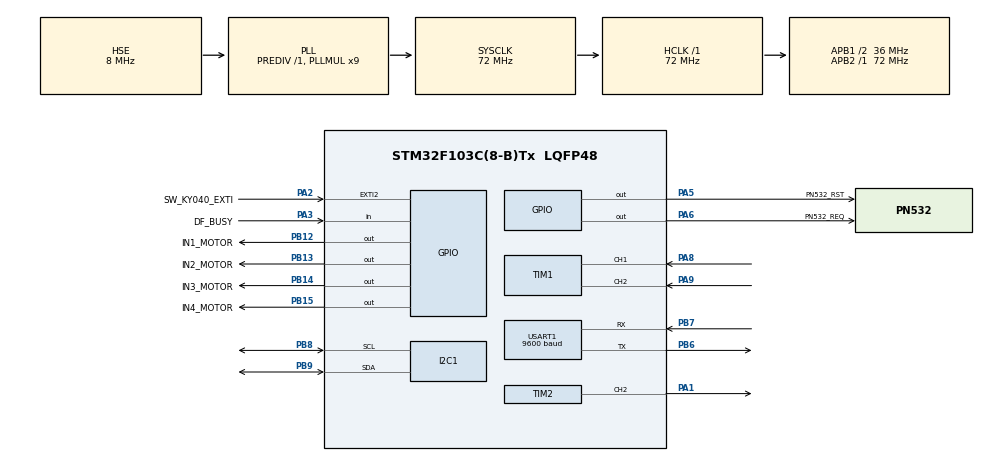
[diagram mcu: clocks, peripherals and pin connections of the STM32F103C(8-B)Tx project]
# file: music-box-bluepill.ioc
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Dma.Request0=TIM2_CH2/CH4
Dma.TIM2_CH2/CH4.0.Direction=DMA_MEMORY_TO_PERIPH
Dma.TIM2_CH2/CH4.0.Instance=DMA1_Channel7
Dma.TIM2_CH2/CH4.0.MemDataAlignment=DMA_MDATAALIGN_HALFWORD
Dma.TIM2_CH2/CH4.0.MemInc=DMA_MINC_ENABLE
Dma.TIM2_CH2/CH4.0.Mode=DMA_NORMAL
Dma.TIM2_CH2/CH4.0.PeriphDataAlignment=DMA_PDATAALIGN_HALFWORD
Dma.TIM2_CH2/CH4.0.PeriphInc=DMA_PINC_DISABLE
Dma.TIM2_CH2/CH4.0.Priority=DMA_PRIORITY_LOW
FREERTOS.BinarySemaphores01=pause_sem,Dynamic,NULL,Available
FREERTOS.Mutexes01=i2c_mutex,Dynamic,NULL,Available
FREERTOS.Tasks01=defaultTask,0,128,StartDefaultTask,Default,NULL,Dynamic,NULL,NULL;TaskMotor,1,128,StartTaskMotor,Default,NULL,Dynamic,NULL,NULL;TaskRFID,0,256,StartTaskRFID,Default,NULL,Dynamic,NULL,NULL;TaskEncoder,0,128,StartTaskEncoder,Default,NULL,Dynamic,NULL,NULL;TaskPlayer,0,256,StartTaskPlayer,Default,NULL,Dynamic,NULL,NULL;TaskDisplay,-2,256,StartTaskDisplay,Default,NULL,Dynamic,NULL,NULL;TaskHealth,2,128,StartTaskHealth,Default,NULL,Dynamic,NULL,NULL
FREERTOS.configTOTAL_HEAP_SIZE=10000
FREERTOS.configUSE_NEWLIB_REENTRANT=1
IWDG.Prescaler=IWDG_PRESCALER_128
Mcu.Family=STM32F1
Mcu.Name=STM32F103C(8-B)Tx
Mcu.Package=LQFP48
NVIC.DMA1_Channel7_IRQn=true\:5\:0\:false\:false\:true\:true\:false\:true\:true
NVIC.EXTI2_IRQn=true\:5\:0\:false\:false\:true\:true\:true\:true\:true
NVIC.PriorityGroup=NVIC_PRIORITYGROUP_4
NVIC.TIM3_IRQn=true\:15\:0\:false\:false\:true\:false\:false\:true\:true
NVIC.TimeBase=TIM3_IRQn
NVIC.TimeBaseIP=TIM3
PA1.Signal=S_TIM2_CH2
PA13.Mode=Serial_Wire
PA13.Signal=SYS_JTMS-SWDIO
PA14.Mode=Serial_Wire
PA14.Signal=SYS_JTCK-SWCLK
PA2.GPIO_Label=SW_KY040_EXTI
PA2.Signal=GPXTI2
PA3.GPIO_Label=DF_BUSY
PA3.Signal=GPIO_Input
PA5.GPIO_Label=PN532_RST
PA5.Signal=GPIO_Output
PA6.GPIO_Label=PN532_REQ
PA6.Signal=GPIO_Output
PA8.Signal=S_TIM1_CH1
PA9.Signal=S_TIM1_CH2
PB12.GPIO_Label=IN1_MOTOR
PB12.Signal=GPIO_Output
PB13.GPIO_Label=IN2_MOTOR
PB13.Signal=GPIO_Output
PB14.GPIO_Label=IN3_MOTOR
PB14.Signal=GPIO_Output
PB15.GPIO_Label=IN4_MOTOR
PB15.Signal=GPIO_Output
PB6.Mode=Asynchronous
PB6.Signal=USART1_TX
PB7.Mode=Asynchronous
PB7.Signal=USART1_RX
PB8.Mode=I2C
PB8.Signal=I2C1_SCL
PB9.Mode=I2C
PB9.Signal=I2C1_SDA
PD0-OSC_IN.Mode=HSE-External-Oscillator
PD0-OSC_IN.Signal=RCC_OSC_IN
PD1-OSC_OUT.Mode=HSE-External-Oscillator
PD1-OSC_OUT.Signal=RCC_OSC_OUT
ProjectManager.HeapSize=0x200
ProjectManager.StackSize=0x400
ProjectManager.TargetToolchain=STM32CubeIDE
RCC.AHBFreq_Value=72000000
RCC.APB1CLKDivider=RCC_HCLK_DIV2
RCC.APB1Freq_Value=36000000
RCC.APB1TimFreq_Value=72000000
RCC.APB2Freq_Value=72000000
RCC.APB2TimFreq_Value=72000000
RCC.HCLKFreq_Value=72000000
RCC.PLLMUL=RCC_PLL_MUL9
RCC.PLLSourceVirtual=RCC_PLLSOURCE_HSE
RCC.SYSCLKFreq_VALUE=72000000
RCC.SYSCLKSource=RCC_SYSCLKSOURCE_PLLCLK
RCC.USBFreq_Value=72000000
SH.S_TIM1_CH1.0=TIM1_CH1,Encoder_Interface
SH.S_TIM1_CH2.0=TIM1_CH2,Encoder_Interface
SH.S_TIM2_CH2.0=TIM2_CH2,PWM Generation2 CH2
TIM2.Channel-PWM\ Generation2\ CH2=TIM_CHANNEL_2
TIM2.Period=90-1
USART1.BaudRate=9600
USART1.VirtualMode=VM_ASYNC
VP_FREERTOS_VS_CMSIS_V1.Mode=CMSIS_V1
VP_IWDG_VS_IWDG.Mode=IWDG_Activate
VP_SYS_VS_tim3.Mode=TIM3
board=custom

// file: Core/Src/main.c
/* USER CODE BEGIN Header */
/**
 ******************************************************************************
 * @file           : main.c
 * @brief          : Main program body
 ******************************************************************************
 * @attention
 *
 * Copyright (c) 2026 STMicroelectronics.
 * All rights reserved.
 *
 * This software is licensed under terms that can be found in the LICENSE file
 * in the root directory of this software component.
 * If no LICENSE file comes with this software, it is provided AS-IS.
 *
 ******************************************************************************
 */
/* USER CODE END Header */
#include "main.h"
#include "cmsis_os.h"
#include "dma.h"
#include "i2c.h"
#include "iwdg.h"
#include "tim.h"
#include "usart.h"
#include "gpio.h"

/* USER CODE BEGIN Includes */
#include "pn532_stm32f1.h"
#include "df_player.h"
#include "ssd1306.h"
#include "ws2812b.h"
/* USER CODE END Includes */

/* USER CODE BEGIN PD */
#define PN532_INIT_MAX_RETRIES  5
#define PN532_INIT_RETRY_DELAY_MS  200
/* USER CODE END PD */

/* USER CODE BEGIN PV */
PN532 pn532;
/* USER CODE END PV */

void SystemClock_Config(void);
void MX_FREERTOS_Init(void);

int main(void)
{

	/* MCU Configuration--------------------------------------------------------*/

	/* Reset of all peripherals, Initializes the Flash interface and the Systick. */
	HAL_Init();

	/* Configure the system clock */
	SystemClock_Config();

	/* Initialize all configured peripherals */
	MX_GPIO_Init();
	MX_DMA_Init();
	MX_I2C1_Init();
	MX_USART1_UART_Init();
	MX_TIM1_Init();
	MX_TIM2_Init();
	MX_IWDG_Init();
	/* USER CODE BEGIN 2 */
#if defined(DBGMCU_CR_DBG_IWDG_STOP)
	__HAL_DBGMCU_FREEZE_IWDG();
#endif

	SSD1306_Init();
	SSD1306_Clear();
	SSD1306_WriteString("Waiting...");
	SSD1306_UpdateScreen();

	PN532_I2C_Init(&pn532);

	uint8_t buff[255];
	int init_ok = 0;

	for (int attempt = 0; attempt < PN532_INIT_MAX_RETRIES; attempt++)
	{
		if (PN532_GetFirmwareVersion(&pn532, buff) == PN532_STATUS_OK)
		{
			init_ok = 1;
			break;
		}

		HAL_Delay(PN532_INIT_RETRY_DELAY_MS);
		PN532_I2C_Wakeup(); /* повторний wake-up на випадок, якщо саме він не спрацював з першого разу */
	}

	if (init_ok)
	{
		PN532_SamConfiguration(&pn532);
	}
	else
	{
		SSD1306_Clear();
		SSD1306_WriteString("PN532 init FAIL");
		SSD1306_UpdateScreen();

		while (1)
		{
//			HAL_GPIO_TogglePin(GPIOC, GPIO_PIN_13);
			HAL_Delay(200);
		}
	}

	dfplayer_Init();
	dfplayer_SetVolume(2);
	dfplayer_SetSource(PLAYBACK_SOURCE_TF);

	WS2812B_Init();

	HAL_TIM_Encoder_Start(&htim1, TIM_CHANNEL_ALL);
	/* USER CODE END 2 */

	/* Call init function for freertos objects (in cmsis_os2.c) */
	MX_FREERTOS_Init();

	/* Start scheduler */
	osKernelStart();

	/* We should never get here as control is now taken by the scheduler */

	/* Infinite loop */
	while (1)
	{

	}
}

void SystemClock_Config(void)
{
	RCC_OscInitTypeDef RCC_OscInitStruct = {0};
	RCC_ClkInitTypeDef RCC_ClkInitStruct = {0};

	/** Initializes the RCC Oscillators according to the specified parameters
	 * in the RCC_OscInitTypeDef structure.
	 */
	RCC_OscInitStruct.OscillatorType = RCC_OSCILLATORTYPE_LSI|RCC_OSCILLATORTYPE_HSE;
	RCC_OscInitStruct.HSEState = RCC_HSE_ON;
	RCC_OscInitStruct.HSEPredivValue = RCC_HSE_PREDIV_DIV1;
	RCC_OscInitStruct.HSIState = RCC_HSI_ON;
	RCC_OscInitStruct.LSIState = RCC_LSI_ON;
	RCC_OscInitStruct.PLL.PLLState = RCC_PLL_ON;
	RCC_OscInitStruct.PLL.PLLSource = RCC_PLLSOURCE_HSE;
	RCC_OscInitStruct.PLL.PLLMUL = RCC_PLL_MUL9;
	if (HAL_RCC_OscConfig(&RCC_OscInitStruct) != HAL_OK)
	{
		Error_Handler();
	}

	/** Initializes the CPU, AHB and APB buses clocks
	 */
	RCC_ClkInitStruct.ClockType = RCC_CLOCKTYPE_HCLK|RCC_CLOCKTYPE_SYSCLK
			|RCC_CLOCKTYPE_PCLK1|RCC_CLOCKTYPE_PCLK2;
	RCC_ClkInitStruct.SYSCLKSource = RCC_SYSCLKSOURCE_PLLCLK;
	RCC_ClkInitStruct.AHBCLKDivider = RCC_SYSCLK_DIV1;
	RCC_ClkInitStruct.APB1CLKDivider = RCC_HCLK_DIV2;
	RCC_ClkInitStruct.APB2CLKDivider = RCC_HCLK_DIV1;

	if (HAL_RCC_ClockConfig(&RCC_ClkInitStruct, FLASH_LATENCY_2) != HAL_OK)
	{
		Error_Handler();
	}
}

void HAL_TIM_PeriodElapsedCallback(TIM_HandleTypeDef *htim)
{
	if (htim->Instance == TIM3)
	{
		HAL_IncTick();
	}
}

void Error_Handler(void)
{
	__disable_irq();
	while (1)
	{
	}
}

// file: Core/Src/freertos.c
/* USER CODE BEGIN Header */
/**
 ******************************************************************************
 * File Name          : freertos.c
 * Description        : Code for freertos applications
 ******************************************************************************
 * @attention
 *
 * Copyright (c) 2026 STMicroelectronics.
 * All rights reserved.
 *
 * This software is licensed under terms that can be found in the LICENSE file
 * in the root directory of this software component.
 * If no LICENSE file comes with this software, it is provided AS-IS.
 *
 ******************************************************************************
 */
/* USER CODE END Header */

#include "FreeRTOS.h"
#include "task.h"
#include "main.h"
#include "cmsis_os.h"

/* USER CODE BEGIN Includes */
#include "pn532_stm32f1.h"
#include "df_player.h"
#include "ssd1306.h"
#include "stepper.h"
#include <string.h>
#include <stdio.h>
#include "ws2812b.h"
#include "event_groups.h"
/* USER CODE END Includes */

/* USER CODE BEGIN PTD */
typedef struct {
	uint64_t uid;
	int8_t   track_number;
} rfid_msg_t;

typedef struct {
	char    track_name[32];
	uint8_t volume;
	uint8_t is_paused;
	uint8_t motor_running;
	uint8_t is_ended;
} display_msg_t;
/* USER CODE END PTD */

/* USER CODE BEGIN PD */
#define TAG_1 0x53c49bf6630001
#define TAG_2 0x53539af6630001
#define TAG_3  23585189974441985ULL
#define TAG_4  23516277151825921ULL
#define TAG_5  23390585006260225ULL

#define HEALTH_NFC_BIT      (1 << 0)
#define HEALTH_DFPLAYER_BIT (1 << 1)
#define HEALTH_WS_BIT       (1 << 2)
#define HEALTH_MOTOR_BIT    (1 << 3)
#define HEALTH_ALL_BITS     (HEALTH_NFC_BIT | HEALTH_DFPLAYER_BIT | HEALTH_WS_BIT | HEALTH_MOTOR_BIT)

#define TIMEOUT_MS 1000  /* health-check period, well under min. IWDG timeout of ~2.18s */
/* USER CODE END PD */

/* USER CODE BEGIN Variables */
osMessageQId RFID_QueueHandle;
osMessageQId Encoder_QueueHandle;
osMessageQId Display_QueueHandle;

SemaphoreHandle_t motor_start_semHandle;
SemaphoreHandle_t motor_stop_semHandle;

static EventGroupHandle_t healthEventGroup;

extern PN532 pn532;
extern TIM_HandleTypeDef htim1;
extern IWDG_HandleTypeDef hiwdg;

uint8_t volume = 2;
/* USER CODE END Variables */
osThreadId defaultTaskHandle;
osThreadId TaskMotorHandle;
osThreadId TaskRFIDHandle;
osThreadId TaskEncoderHandle;
osThreadId TaskPlayerHandle;
osThreadId TaskDisplayHandle;
osThreadId TaskHealthHandle;
osMutexId i2c_mutexHandle;
osSemaphoreId pause_semHandle;

/* USER CODE BEGIN FunctionPrototypes */
static void SendDisplayUpdate(int8_t track, uint8_t vol, bool paused, bool motor_run, bool ended)
{
	display_msg_t disp;
	disp.volume = vol;
	disp.is_paused = paused;
	disp.motor_running = motor_run;
	disp.is_ended = ended;

	if (track == 1)
		strncpy(disp.track_name, "BTS - MIC Drop", 32);
	else if (track == 2)
		strncpy(disp.track_name, "BTS - Not Today", 32);
	else if (track == 3)
		strncpy(disp.track_name, "BTS - Jump", 32);
	else if (track == 4)
		strncpy(disp.track_name, "BTS - Spine Breaker", 32);
	else if (track == 5)
		strncpy(disp.track_name, "J-Hope - Arson", 32);
	else
		strncpy(disp.track_name, "Waiting...", 32);

	xQueueSend(Display_QueueHandle, &disp, 0);
}
/* USER CODE END FunctionPrototypes */

void StartDefaultTask(void const * argument);
void StartTaskMotor(void const * argument);
void StartTaskRFID(void const * argument);
void StartTaskEncoder(void const * argument);
void StartTaskPlayer(void const * argument);
void StartTaskDisplay(void const * argument);
void StartTaskHealth(void const * argument);

void MX_FREERTOS_Init(void); /* (MISRA C 2004 rule 8.1) */

/* GetIdleTaskMemory prototype (linked to static allocation support) */
void vApplicationGetIdleTaskMemory( StaticTask_t **ppxIdleTaskTCBBuffer, StackType_t **ppxIdleTaskStackBuffer, uint32_t *pulIdleTaskStackSize );

/* USER CODE BEGIN GET_IDLE_TASK_MEMORY */
static StaticTask_t xIdleTaskTCBBuffer;
static StackType_t xIdleStack[configMINIMAL_STACK_SIZE];

void vApplicationGetIdleTaskMemory( StaticTask_t **ppxIdleTaskTCBBuffer, StackType_t **ppxIdleTaskStackBuffer, uint32_t *pulIdleTaskStackSize )
{
	*ppxIdleTaskTCBBuffer = &xIdleTaskTCBBuffer;
	*ppxIdleTaskStackBuffer = &xIdleStack[0];
	*pulIdleTaskStackSize = configMINIMAL_STACK_SIZE;
	/* place for user code */
}
/* USER CODE END GET_IDLE_TASK_MEMORY */

void MX_FREERTOS_Init(void) {
	/* USER CODE BEGIN Init */
	healthEventGroup = xEventGroupCreate();
	/* USER CODE END Init */
	/* Create the mutex(es) */
	/* definition and creation of i2c_mutex */
	osMutexDef(i2c_mutex);
	i2c_mutexHandle = osMutexCreate(osMutex(i2c_mutex));

	/* Create the semaphores(s) */
	/* definition and creation of pause_sem */
	osSemaphoreDef(pause_sem);
	pause_semHandle = osSemaphoreCreate(osSemaphore(pause_sem), 1);

	/* USER CODE BEGIN RTOS_SEMAPHORES */
	/* Using xSemaphoreCreateBinary instead of osSemaphoreCreate:
	 * CMSIS V1 counting semaphore hangs on Release when already Available.
	 * True binary semaphore returns pdFAIL gracefully instead. */
	motor_start_semHandle = xSemaphoreCreateBinary();
	motor_stop_semHandle = xSemaphoreCreateBinary();
	/* USER CODE END RTOS_SEMAPHORES */

	/* USER CODE BEGIN RTOS_QUEUES */
	/* Custom item sizes require direct FreeRTOS API instead of osMessageQDef */
	RFID_QueueHandle = xQueueCreate(1, sizeof(rfid_msg_t));
	Encoder_QueueHandle = xQueueCreate(4, sizeof(int8_t));
	Display_QueueHandle = xQueueCreate(2, sizeof(display_msg_t));
	/* USER CODE END RTOS_QUEUES */

	/* Create the thread(s) */
	/* definition and creation of defaultTask */
	osThreadDef(defaultTask, StartDefaultTask, osPriorityNormal, 0, 128);
	defaultTaskHandle = osThreadCreate(osThread(defaultTask), NULL);

	/* definition and creation of TaskMotor */
	osThreadDef(TaskMotor, StartTaskMotor, osPriorityAboveNormal, 0, 128);
	TaskMotorHandle = osThreadCreate(osThread(TaskMotor), NULL);

	/* definition and creation of TaskRFID */
	osThreadDef(TaskRFID, StartTaskRFID, osPriorityNormal, 0, 256);
	TaskRFIDHandle = osThreadCreate(osThread(TaskRFID), NULL);

	/* definition and creation of TaskEncoder */
	osThreadDef(TaskEncoder, StartTaskEncoder, osPriorityNormal, 0, 128);
	TaskEncoderHandle = osThreadCreate(osThread(TaskEncoder), NULL);

	/* definition and creation of TaskPlayer */
	osThreadDef(TaskPlayer, StartTaskPlayer, osPriorityNormal, 0, 256);
	TaskPlayerHandle = osThreadCreate(osThread(TaskPlayer), NULL);

	/* definition and creation of TaskDisplay */
	osThreadDef(TaskDisplay, StartTaskDisplay, osPriorityLow, 0, 256);
	TaskDisplayHandle = osThreadCreate(osThread(TaskDisplay), NULL);

	/* definition and creation of TaskHealth */
	osThreadDef(TaskHealth, StartTaskHealth, osPriorityHigh, 0, 128);
	TaskHealthHandle = osThreadCreate(osThread(TaskHealth), NULL);

}

void StartDefaultTask(void const * argument)
{
	for(;;)
	{
		osDelay(1);
	}
}

void StartTaskMotor(void const * argument)
{
	/* USER CODE BEGIN StartTaskMotor */
	/* Infinite loop */
	for(;;)
	{
		/* Block until Player signals motor to start */
		if(osSemaphoreWait(motor_start_semHandle, pdMS_TO_TICKS(1000)) != osOK){
			xEventGroupSetBits(healthEventGroup, HEALTH_MOTOR_BIT);
			continue;
		}

		/* Clear any pending stop signal */
		xSemaphoreTake(motor_stop_semHandle, 0);

		for (;;)
		{
			stepper_Step(true);
			osDelay(1);
			xEventGroupSetBits(healthEventGroup, HEALTH_MOTOR_BIT);

			/* Non-blocking check for stop signal from Player */
			if (osSemaphoreWait(motor_stop_semHandle, 0) == osOK)
				break;
		}

		/* De-energize all coils to save power */
		stepper_Stop();

		/* Clear any pending start signal that arrived during stop */
		xSemaphoreTake(motor_start_semHandle, 0);
	}
	/* USER CODE END StartTaskMotor */
}

void StartTaskRFID(void const * argument)
{
	/* USER CODE BEGIN StartTaskRFID */
	uint8_t uid[MIFARE_UID_MAX_LENGTH];
	int32_t uid_len = 0;
	static uint32_t tag_lost_tick = 0;
	static uint64_t last_tag_id = 0;

	/* Infinite loop */
	for(;;)
	{
		osMutexWait(i2c_mutexHandle, osWaitForever);
		uid_len = PN532_ReadPassiveTarget(&pn532, uid, PN532_MIFARE_ISO14443A, 1000);
		osMutexRelease(i2c_mutexHandle);

		if (uid_len > 0)
		{
			/* Tag visible - reset lost timer */
			tag_lost_tick = 0;

			uint64_t current_id = uid_to_u64(uid, uid_len);

			if (current_id != last_tag_id)
			{
				/* New tag or tag came back after removal */
				last_tag_id = current_id;

				rfid_msg_t msg;
				msg.uid = current_id;

				if (current_id == TAG_1)      msg.track_number = 1;
				else if (current_id == TAG_2) msg.track_number = 2;
				else if (current_id == TAG_3) msg.track_number = 3;
				else if (current_id == TAG_4) msg.track_number = 4;
				else if (current_id == TAG_5) msg.track_number = 5;
				else                          msg.track_number = -1;

				xQueueOverwrite(RFID_QueueHandle, &msg);
			}
			/* else: same tag still in field, nothing to do */
		}
		else
		{
			/* No tag visible */
			if (last_tag_id != 0)
			{
				/* We had a tag - start or continue lost timer */
				if (tag_lost_tick == 0)
					tag_lost_tick = osKernelSysTick();

				if (osKernelSysTick() - tag_lost_tick > 2000)
				{
					/* 5 seconds without tag - treat as removed */
					tag_lost_tick = 0;
					last_tag_id = 0;

					rfid_msg_t msg = { .uid = 0, .track_number = -1 };
					xQueueOverwrite(RFID_QueueHandle, &msg);
				}
			}
			/* else: no tag before, no tag now, nothing to do */
		}

		xEventGroupSetBits(healthEventGroup, HEALTH_NFC_BIT);

		osDelay(50);
	}
	/* USER CODE END StartTaskRFID */
}

void StartTaskEncoder(void const * argument)
{
	/* USER CODE BEGIN StartTaskEncoder */
	static int32_t last_count = 0;
	int32_t count = 0;
	int32_t diff = 0;
	int8_t delta = 0;
	/* Infinite loop */
	for(;;)
	{
		count = (int32_t)(uint16_t)__HAL_TIM_GET_COUNTER(&htim1);
		diff = count - last_count;

		/* Handle counter overflow/underflow */
		if (diff > 32767)  diff -= 65536;
		if (diff < -32767) diff += 65536;

		if (diff >= 2)
		{
			delta = 1;
			xQueueSend(Encoder_QueueHandle, &delta, 0);
			last_count = count;
		}
		else if (diff <= -2)
		{
			delta = -1;
			xQueueSend(Encoder_QueueHandle, &delta, 0);
			last_count = count;
		}

		osDelay(1);
	}
	/* USER CODE END StartTaskEncoder */
}

void StartTaskPlayer(void const * argument)
{
	/* USER CODE BEGIN StartTaskPlayer */
	rfid_msg_t rfid_msg;
	int8_t encoder_delta = 0;
	bool is_paused = false;
	int8_t current_track = -1;
	static bool was_busy = false;
	/* Infinite loop */
	for(;;)
	{
		/* Check for new RFID event */
		if (xQueueReceive(RFID_QueueHandle, &rfid_msg, 0) == pdTRUE)
		{
			if (rfid_msg.track_number >= 0)
			{
				if (rfid_msg.track_number == current_track)
				{
					/* Same tag came back - resume, don't restart the track */
					is_paused = false;

					dfplayer_Play();

					xSemaphoreTake(motor_stop_semHandle, 0);
					osSemaphoreRelease(motor_start_semHandle);

					SendDisplayUpdate(current_track, volume, is_paused, current_track >= 0, false);
				}
				else
				{
					/* New/different tag - start playback from the beginning */
					current_track = rfid_msg.track_number;
					is_paused = false;

					dfplayer_SetTrakNumber(current_track);

					/* Clear pending stop signal before starting motor */
					xSemaphoreTake(motor_stop_semHandle, 0);
					osSemaphoreRelease(motor_start_semHandle);

					SendDisplayUpdate(current_track, volume, is_paused, current_track >= 0, false);
				}
			}
			else
			{
				/* Tag removed - pause playback and stop the motor
				 * (kept as pause rather than full stop, so DFPlayer resumes
				 * from the same position when the tag is placed back) */
				is_paused = true;

				dfplayer_Pause();
				osSemaphoreRelease(motor_stop_semHandle);

				SendDisplayUpdate(current_track, volume, is_paused, current_track >= 0, false);
			}
		}

		/* Drain all encoder messages and update volume once */
		bool volume_changed = false;
		while (xQueueReceive(Encoder_QueueHandle, &encoder_delta, 0) == pdTRUE)
		{
			if (encoder_delta > 0 && volume < 30) volume++;
			if (encoder_delta < 0 && volume > 0)  volume--;
			volume_changed = true;
		}

		if (volume_changed)
		{
			dfplayer_SetVolume(volume);

			SendDisplayUpdate(current_track, volume, is_paused, current_track >= 0, false);
		}

		/* Check for pause semaphore from EXTI */
		if (osSemaphoreWait(pause_semHandle, 0) == osOK)
		{
			if (current_track >= 0)
			{
				is_paused = !is_paused;

				if (is_paused)
				{
					dfplayer_Pause();
					osSemaphoreRelease(motor_stop_semHandle);
				}
				else
				{
					dfplayer_Play();
					xSemaphoreTake(motor_stop_semHandle, 0);
					osSemaphoreRelease(motor_start_semHandle);
				}

				SendDisplayUpdate(current_track, volume, is_paused, current_track >= 0, false);
			}
		}

		/* Check whether the track finished on its own (BUSY went idle while
		 * we were actively playing, not paused/stopped by us) */
		bool is_busy = (HAL_GPIO_ReadPin(DF_BUSY_GPIO_Port, DF_BUSY_Pin) == GPIO_PIN_RESET);

		if (was_busy && !is_busy && current_track >= 0 && !is_paused)
		{
			/* Track ended naturally - stop the motor so it doesn't spin
			 * forever if the tag is left in place; let TaskDisplay turn
			 * the LED off and show the "Ended" status */
			osSemaphoreRelease(motor_stop_semHandle);

			SendDisplayUpdate(current_track, volume, false, false, true);
		}
		was_busy = is_busy;

		xEventGroupSetBits(healthEventGroup, HEALTH_DFPLAYER_BIT);

		osDelay(10);
	}
	/* USER CODE END StartTaskPlayer */
}

void StartTaskDisplay(void const * argument)
{
	/* USER CODE BEGIN StartTaskDisplay */
	display_msg_t msg;
	/* Infinite loop */
	for(;;)
	{
		/* Block until Player sends a display update */
		if (xQueueReceive(Display_QueueHandle, &msg, pdMS_TO_TICKS(1000)) == pdTRUE)
		{
			osMutexWait(i2c_mutexHandle, osWaitForever);

			SSD1306_Clear();

			SSD1306_SetCursor(0, 0);
			SSD1306_WriteString(msg.track_name);

			char status[22];
			if (msg.is_ended)
			{
				sprintf(status, "Vol:%02d Ended", msg.volume);
			}
			else
			{
				sprintf(status, "Vol:%02d %s", msg.volume,
						msg.is_paused ? "Paused " : "Playing");
			}
			SSD1306_SetCursor(0, 16);
			SSD1306_WriteString(status);

			SSD1306_UpdateScreen();

			osMutexRelease(i2c_mutexHandle);

			if (msg.is_ended)
			{
				/* Track finished on its own */
				WS2812B_Clear();
			}
			else if (msg.motor_running && !msg.is_paused)
			{
				/* Playing - full brightness */
				WS2812B_Fill(255, 0, 128);
			}
			else if (!msg.motor_running && msg.is_paused)
			{
				/* Paused - dim */
				WS2812B_Fill(60, 0, 30);
			}
			else
			{
				/* Stopped - off */
				WS2812B_Clear();
			}
			WS2812B_Show();
		}
		xEventGroupSetBits(healthEventGroup, HEALTH_WS_BIT);
	}
	/* USER CODE END StartTaskDisplay */
}

void StartTaskHealth(void const * argument)
{
	/* USER CODE BEGIN StartTaskHealth */
	/* Infinite loop */
	for(;;)
	{
		EventBits_t bits = xEventGroupWaitBits(
				healthEventGroup,
				HEALTH_ALL_BITS,
				pdTRUE,
				pdTRUE,
				pdMS_TO_TICKS(TIMEOUT_MS)
		);

		if ((bits & HEALTH_ALL_BITS) == HEALTH_ALL_BITS)
		{
			HAL_IWDG_Refresh(&hiwdg);
		}

		osDelay(200);
	}
	/* USER CODE END StartTaskHealth */
}

/* USER CODE BEGIN Application */
void HAL_GPIO_EXTI_Callback(uint16_t GPIO_Pin) {
	if (GPIO_Pin == GPIO_PIN_2) {
		osSemaphoreRelease(pause_semHandle);
	}
}
/* USER CODE END Application */
